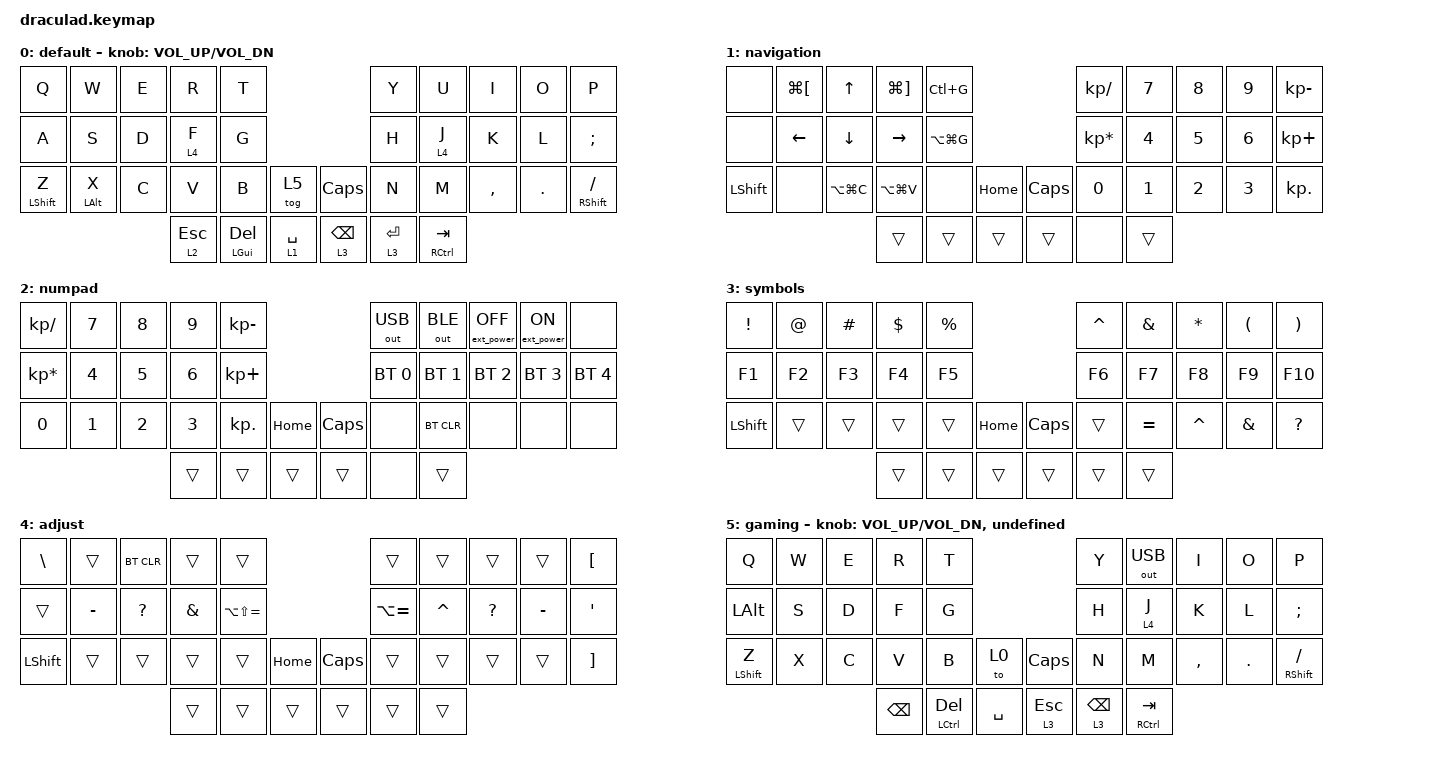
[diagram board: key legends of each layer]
/*
 * Copyright (c) 2020 The ZMK Contributors
 *
 * SPDX-License-Identifier: MIT
 */

#include <behaviors.dtsi>
#include <dt-bindings/zmk/keys.h>
#include <dt-bindings/zmk/outputs.h>
#include <dt-bindings/zmk/ext_power.h>
#include <dt-bindings/zmk/bt.h>

#define BASE 0
#define NAV  1
#define NUM  2
#define SYM  3
#define ADJ  4
#define GAM  5

/ {
    keymap {
        compatible = "zmk,keymap";

        default {
            bindings = <
       &kp Q       &kp W   &kp E      &kp R         &kp T                                       &kp Y          &kp U      &kp I    &kp O           &kp P
       &kp A       &kp S   &kp D    &lt 4 F         &kp G                                       &kp H        &lt 4 J      &kp K    &kp L        &kp SEMI
 &mt LSHFT Z  &mt LALT X   &kp C      &kp V         &kp B       &tog 5            &kp CAPS      &kp N          &kp M  &kp COMMA  &kp DOT  &mt RSHFT FSLH
                                  &lt 2 ESC  &mt LGUI DEL  &lt 1 SPACE          &lt 3 BSPC  &lt 3 RET  &mt RCTRL TAB
            >;

            sensor-bindings = <&inc_dec_kp C_VOL_UP C_VOL_DN>;
        };

        navigation {
            bindings = <
     &none  &kp LG(LBKT)         &kp UP   &kp LG(RBKT)      &kp LC(G)                                &kp KP_DIVIDE  &kp N7  &kp N8  &kp N9  &kp KP_MINUS
     &none      &kp LEFT       &kp DOWN      &kp RIGHT  &kp LA(LG(G))                              &kp KP_MULTIPLY  &kp N4  &kp N5  &kp N6   &kp KP_PLUS
 &kp LSHFT         &none  &kp LA(LG(C))  &kp LA(LG(V))          &none  &kp HOME          &kp CAPS           &kp N0  &kp N1  &kp N2  &kp N3    &kp KP_DOT
                                                &trans         &trans    &trans            &trans            &none  &trans
            >;
        };

        numpad {
            bindings = <
   &kp KP_DIVIDE  &kp N7  &kp N8  &kp N9  &kp KP_MINUS                              &out OUT_USB  &out OUT_BLE  &ext_power EP_OFF  &ext_power EP_ON         &none
 &kp KP_MULTIPLY  &kp N4  &kp N5  &kp N6   &kp KP_PLUS                              &bt BT_SEL 0  &bt BT_SEL 1       &bt BT_SEL 2      &bt BT_SEL 3  &bt BT_SEL 4
          &kp N0  &kp N1  &kp N2  &kp N3    &kp KP_DOT  &kp HOME          &kp CAPS         &none    &bt BT_CLR              &none             &none         &none
                                  &trans        &trans    &trans            &trans         &none        &trans
            >;
        };

        symbols {
            bindings = <
  &kp EXCL  &kp AT  &kp HASH  &kp DLLR  &kp PRCNT                              &kp CARET   &kp AMPS   &kp STAR  &kp LPAR   &kp RPAR
    &kp F1  &kp F2    &kp F3    &kp F4     &kp F5                                 &kp F6     &kp F7     &kp F8    &kp F9    &kp F10
 &kp LSHFT  &trans    &trans    &trans     &trans  &kp HOME          &kp CAPS     &trans  &kp EQUAL  &kp CARET  &kp AMPS  &kp QMARK
                                &trans     &trans    &trans            &trans     &trans     &trans
            >;
        };

        adjust {
            bindings = <
  &kp BSLH     &trans  &bt BT_CLR    &trans             &trans                                     &trans     &trans     &trans     &trans  &kp LBKT
    &trans  &kp MINUS   &kp QMARK  &kp AMPS  &kp LA(LS(EQUAL))                              &kp LA(EQUAL)  &kp CARET  &kp QMARK  &kp MINUS  &kp APOS
 &kp LSHFT     &trans      &trans    &trans             &trans  &kp HOME          &kp CAPS         &trans     &trans     &trans     &trans  &kp RBKT
                                     &trans             &trans    &trans            &trans         &trans     &trans
            >;
        };

        gaming {
            bindings = <
       &kp Q   &kp W   &kp E     &kp R          &kp T                                     &kp Y   &out OUT_USB      &kp I    &kp O           &kp P
    &kp LALT   &kp S   &kp D     &kp F          &kp G                                     &kp H        &lt 4 J      &kp K    &kp L        &kp SEMI
 &mt LSHFT Z   &kp X   &kp C     &kp V          &kp B      &to 0           &kp CAPS       &kp N          &kp M  &kp COMMA  &kp DOT  &mt RSHFT FSLH
                              &kp BSPC  &mt LCTRL DEL  &kp SPACE          &lt 3 ESC  &lt 3 BSPC  &mt RCTRL TAB
            >;

            sensor-bindings = <&inc_dec_kp C_VOL_UP C_VOL_DN &inc_dec_kp  undefined>;
        };
    };
};
